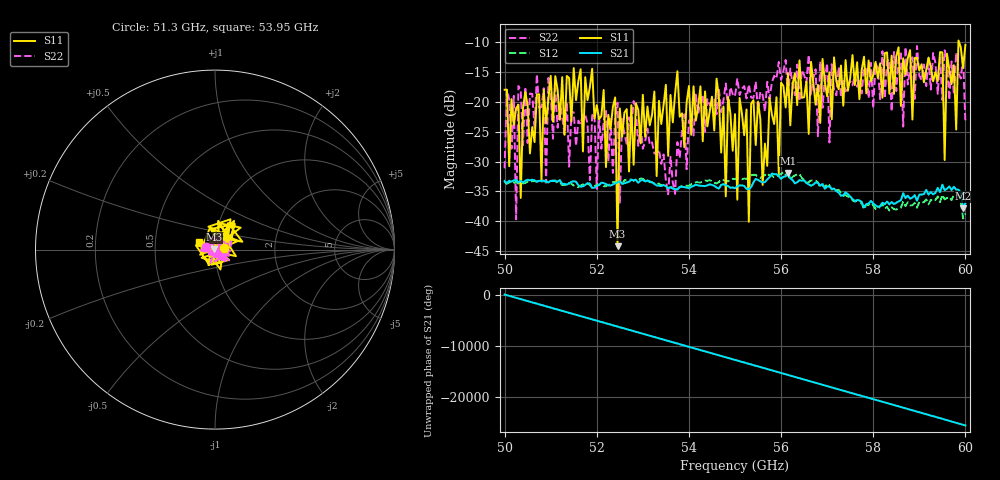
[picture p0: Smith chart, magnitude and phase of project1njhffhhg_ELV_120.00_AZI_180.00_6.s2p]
! 11/24/2026 10:07:55 AM
! C:\ANRITSUVNA\TEMP\TEMP.S2P
! CHANNEL.1
! TR.MEASUREMENT
! RAW.DATA
# HZ S RI R 50.0
! FREQ.HZ  S11RE  S11IM  S21RE  S21IM  S12RE  S12IM  S22RE  S22IM
!; PortSelection: Port_12
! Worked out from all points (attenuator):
!   201 points, 50 GHz to 60 GHz, reference 50 ohm
!   highest |S21| = -31.92 dB at 56.15 GHz (marker M1); lowest = -37.8 dB at 59.95 GHz (marker M2)
!   lowest |S11| = -44.2 dB at 52.45 GHz (marker M3), VSWR 1.01, Z = 49.4 + j0.0933 ohm
!   |S11| at or under -10 dB: start of sweep to 59.85 GHz; 59.86334 GHz to end of sweep
!   |S22| runs from -39.7 to -10.6 dB; largest |S21 - S12| = 0.039
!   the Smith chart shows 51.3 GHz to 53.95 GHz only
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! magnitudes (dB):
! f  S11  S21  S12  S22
! 50 GHz  -18.0  -33.3  -33.4  -31.1
! 50.2 GHz  -23.8  -33.2  -33.6  -19.0
! 50.25 GHz  -21.0  -33.0  -33.4  -39.7
! 50.35 GHz  -36.1  -33.2  -33.4  -18.0
! 50.45 GHz  -18.3  -33.2  -33.6  -17.5
! 50.9 GHz  -23.5  -33.4  -33.4  -33.5
! 51.7 GHz  -28.3  -34.1  -33.8  -22.0
! 52.4 GHz  -19.2  -33.6  -33.4  -22.3
! 52.45 GHz  -44.2  -33.5  -33.7  -20.1
! 52.5 GHz  -21.1  -33.3  -33.8  -37.0
! 53.35 GHz  -19.8  -34.1  -33.7  -28.0
! 55 GHz  -22.0  -34.5  -32.9  -19.1
! 55.05 GHz  -36.4  -34.1  -32.7  -16.1
! 55.25 GHz  -21.3  -34.6  -32.9  -19.4
! 55.3 GHz  -40.1  -34.6  -32.6  -17.1
! 55.35 GHz  -20.3  -34.3  -32.3  -19.3
! 55.95 GHz  -32.0  -32.5  -32.2  -13.3
! 56.15 GHz  -15.2  -31.9  -32.2  -19.2
! 56.7 GHz  -16.8  -33.8  -33.3  -16.0
! 58.35 GHz  -18.6  -37.2  -38.2  -12.9
! 59.95 GHz  -14.3  -37.8  -39.5  -12.5
! 60 GHz  -10.4  -37.0  -38.7  -23.5
